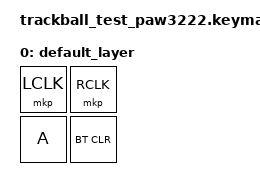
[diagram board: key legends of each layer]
#include <behaviors.dtsi>
#include <dt-bindings/zmk/keys.h>
#include <dt-bindings/zmk/bt.h>
#include <dt-bindings/zmk/pointing.h>

/ {
    keymap {
        compatible = "zmk,keymap";

        default_layer {
            // SW1：左クリック      SW2：右クリック
            // SW3：A を入力        SW4：Bluetooth のペアリング情報を消す
            bindings = <
                &mkp LCLK   &mkp RCLK
                &kp A       &bt BT_CLR
            >;
        };
    };
};
